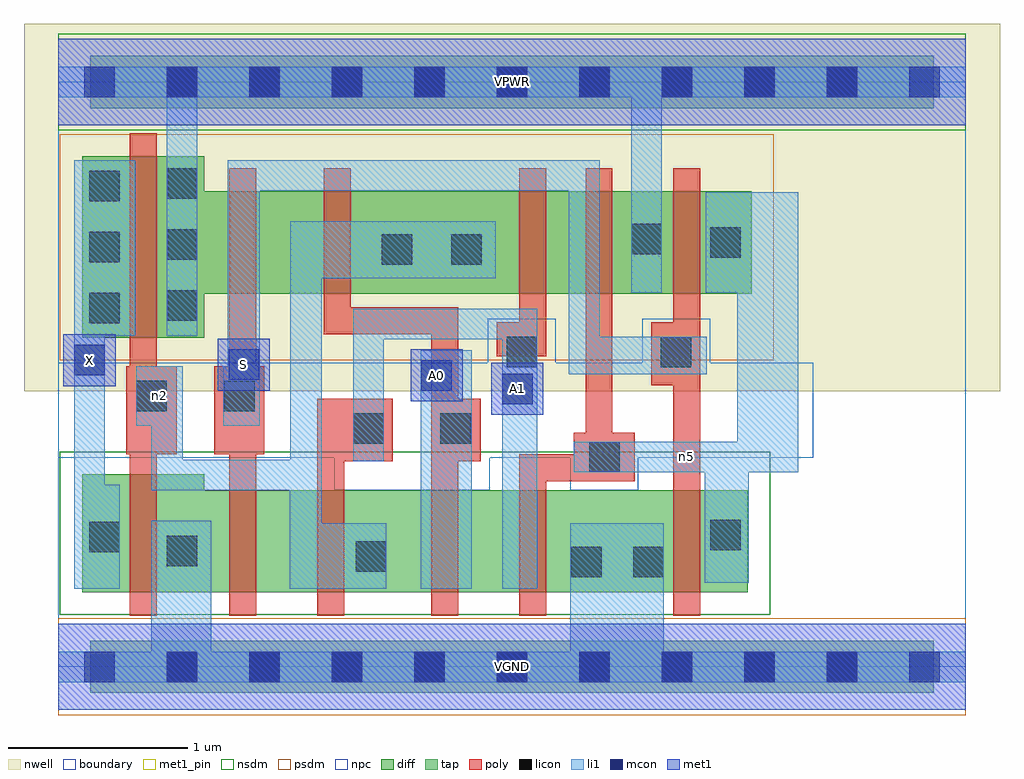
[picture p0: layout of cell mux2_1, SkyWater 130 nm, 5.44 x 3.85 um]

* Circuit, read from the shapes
.subckt mux2_1 A0 A1 S VGND VPWR X n2 n5
XM1 VGND n2 X VGND sky130_fd_pr__nfet_01v8 w=0.66 l=0.15
XM2 n1 S VGND VGND sky130_fd_pr__nfet_01v8 w=0.57 l=0.15
XM3 n2 A1 n1 VGND sky130_fd_pr__nfet_01v8 w=0.57 l=0.15
XM4 n3 A0 n2 VGND sky130_fd_pr__nfet_01v8 w=0.57 l=0.15
XM5 VGND n5 n3 VGND sky130_fd_pr__nfet_01v8 w=0.57 l=0.15
XM6 n5 S VGND VGND sky130_fd_pr__nfet_01v8 w=0.57 l=0.15
XM7 VPWR n2 X VPWR sky130_fd_pr__pfet_01v8 w=1.01 l=0.15
XM8 n4 S VPWR VPWR sky130_fd_pr__pfet_01v8 w=0.57 l=0.15
XM9 n2 A0 n4 VPWR sky130_fd_pr__pfet_01v8 w=0.57 l=0.15
XM10 n6 A1 n2 VPWR sky130_fd_pr__pfet_01v8 w=0.57 l=0.15
XM11 VPWR n5 n6 VPWR sky130_fd_pr__pfet_01v8 w=0.57 l=0.15
XM12 n5 S VPWR VPWR sky130_fd_pr__pfet_01v8 w=0.57 l=0.15
.ends

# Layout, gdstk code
import gdstk
lib = gdstk.Library(unit=1e-6, precision=1e-09)
def R(c, l, rs):  # rectangles x0, y0, x1, y1
    for r in rs: c.add(gdstk.rectangle(r[:2], r[2:], *l))
def A(c, l, x, y, w, h, nx, ny, dx, dy):  # array of equal rectangles
    R(c, l, [(x+i*dx, y+j*dy, x+i*dx+w, y+j*dy+h) for i in range(nx) for j in range(ny)])
nwell = (64, 20)
diff = (65, 20)
tap = (65, 44)
poly = (66, 20)
licon = (66, 44)
li1 = (67, 20)
mcon = (67, 44)
met1_pin = (68, 16)
met1 = (68, 20)
nsdm = (93, 44)
psdm = (94, 20)
npc = (95, 20)
boundary = (235, 4)

mux2_1 = lib.new_cell('mux2_1')
R(mux2_1, nwell, [(-0.19,1.535,5.25,3.585), (0,1.535,5.06,3.585)])
R(mux2_1, diff, [(0.135,0.415,3.845,0.985), (0.135,0.415,0.815,1.075), (0.135,1.835,0.815,2.845), (0.135,2.08,3.865,2.65)])
R(mux2_1, tap, [(0.18,-0.145,4.88,0.145), (0.18,3.115,4.88,3.405)])
R(mux2_1, poly, [(0.4,0.285,0.55,2.975), (0.955,0.285,1.105,2.78), (1.445,0.285,1.595,1.495), (2.08,0.285,2.23,2.005), (2.57,0.285,2.72,1.185), (3.43,0.285,3.58,2.78), (2.57,1.035,3.215,1.185), (2.875,1.035,3.215,1.305), (2.94,1.035,3.09,2.78), (1.445,1.145,1.865,1.495), (2.08,1.145,2.355,1.495), (0.38,1.185,0.66,1.675), (0.87,1.185,1.15,1.675), (3.305,1.57,3.58,1.92), (2.445,1.73,2.72,1.92), (2.57,1.73,2.72,2.78), (1.48,1.855,1.63,2.78), (1.48,1.855,2.23,2.005)])
A(mux2_1, licon, 0.605, -0.085, 0.17, 0.17, 9, 2, 0.46, 3.26)
A(mux2_1, licon, 0.175, 1.915, 0.17, 0.17, 1, 3, 0, 0.34)
A(mux2_1, licon, 0.605, 1.93, 0.17, 0.17, 1, 3, 0, 0.34)
R(mux2_1, licon, [(2.86,0.5,3.03,0.67), (3.205,0.5,3.375,0.67), (1.66,0.53,1.83,0.7), (0.605,0.56,0.775,0.73), (0.175,0.64,0.345,0.81), (3.635,0.65,3.805,0.82), (2.96,1.085,3.13,1.255), (1.645,1.245,1.815,1.415), (2.13,1.245,2.3,1.415), (0.435,1.425,0.605,1.595), (0.925,1.425,1.095,1.595), (2.5,1.67,2.67,1.84), (3.36,1.67,3.53,1.84), (1.805,2.24,1.975,2.41), (2.19,2.24,2.36,2.41), (3.635,2.28,3.805,2.45), (3.195,2.3,3.365,2.47)])
R(mux2_1, li1, [(0,-0.085,5.06,0.085), (0.52,-0.085,0.855,0.815), (2.855,-0.085,3.375,0.8), (0.09,0.435,0.26,2.825), (0.09,0.435,0.345,1.015), (1.29,0.435,1.83,0.8), (1.29,0.435,1.47,1.155), (1.295,0.435,1.47,2.485), (2.02,0.435,2.305,1.765), (2.475,0.435,2.67,1.995), (3.605,0.47,3.85,1.255), (0.52,0.985,1.47,1.155), (0.52,0.985,0.695,1.675), (2.875,1.085,4.125,1.255), (3.785,1.085,4.125,2.645), (1.645,1.145,1.815,1.995), (0.435,1.345,0.695,1.675), (0.92,1.345,1.125,1.675), (0.945,1.345,1.125,2.825), (2.845,1.63,3.02,2.825), (2.845,1.63,3.615,1.84), (1.645,1.825,2.67,1.995), (0.09,1.845,0.43,2.825), (0.605,1.845,0.775,3.345), (3.195,2.085,3.365,3.345), (3.61,2.085,4.125,2.645), (1.295,2.165,2.44,2.485), (0.945,2.655,3.02,2.825), (0,3.175,5.06,3.345)])
A(mux2_1, mcon, 0.145, -0.085, 0.17, 0.17, 11, 2, 0.46, 3.26)
R(mux2_1, mcon, [(2.475,1.465,2.645,1.635), (2.025,1.54,2.195,1.71), (0.95,1.6,1.12,1.77), (0.09,1.625,0.26,1.795)])
R(mux2_1, met1_pin, [(0,-0.24,5.06,0.24), (2.415,1.405,2.705,1.695), (1.965,1.48,2.255,1.77), (0.89,1.54,1.18,1.83), (0.03,1.565,0.32,1.855), (0,3.02,5.06,3.5)])
R(mux2_1, met1, [(0,-0.24,5.06,0.24), (2.415,1.405,2.705,1.695), (1.965,1.48,2.255,1.77), (0.89,1.54,1.18,1.83), (0.03,1.565,0.32,1.855), (0,3.02,5.06,3.5)])
R(mux2_1, nsdm, [(0.01,0.29,3.97,1.2), (0,2.99,5.06,3.53)])
R(mux2_1, psdm, [(0,-0.27,5.06,0.27), (0.01,1.71,3.99,2.97)])
R(mux2_1, npc, [(1.54,0.985,2.405,1.695), (2.855,0.985,3.235,1.695), (0,1.165,4.21,1.695), (2.395,1.165,2.775,1.94), (3.255,1.165,3.635,1.94)])
R(mux2_1, boundary, [(0,0,5.06,3.26)])
mux2_1.add(gdstk.Label('n2', (0.565,1.51), layer=67, texttype=5))
mux2_1.add(gdstk.Label('n5', (3.5,1.17), layer=67, texttype=5))
mux2_1.add(gdstk.Label('A0', (2.11,1.625), layer=68, texttype=5))
mux2_1.add(gdstk.Label('A1', (2.56,1.55), layer=68, texttype=5))
mux2_1.add(gdstk.Label('S', (1.035,1.685), layer=68, texttype=5))
mux2_1.add(gdstk.Label('X', (0.175,1.71), layer=68, texttype=5))
mux2_1.add(gdstk.Label('VPWR', (2.53,3.26), layer=68, texttype=5))
mux2_1.add(gdstk.Label('VGND', (2.53,0), layer=68, texttype=5))
mux2_1.add(gdstk.Label('A0', (2.11,1.625), layer=68, texttype=16))
mux2_1.add(gdstk.Label('A1', (2.56,1.55), layer=68, texttype=16))
mux2_1.add(gdstk.Label('S', (1.035,1.685), layer=68, texttype=16))
mux2_1.add(gdstk.Label('X', (0.175,1.71), layer=68, texttype=16))
mux2_1.add(gdstk.Label('VPWR', (2.53,3.26), layer=68, texttype=16))
mux2_1.add(gdstk.Label('VGND', (2.53,0), layer=68, texttype=16))

lib.write_gds('mux2_1.gds')
